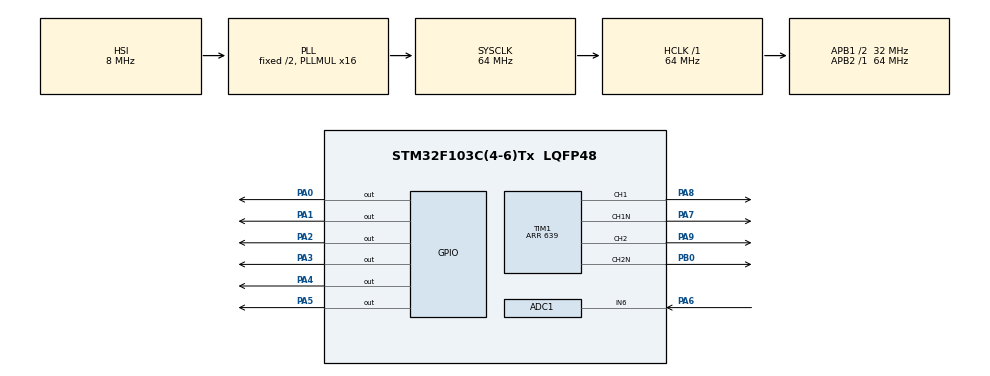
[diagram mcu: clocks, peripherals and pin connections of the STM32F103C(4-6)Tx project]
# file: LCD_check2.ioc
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ADC1.Channel-0\#ChannelRegularConversion=ADC_CHANNEL_6
ADC1.ContinuousConvMode=ENABLE
ADC1.NbrOfConversionFlag=1
ADC1.Rank-0\#ChannelRegularConversion=1
ADC1.SamplingTime-0\#ChannelRegularConversion=ADC_SAMPLETIME_1CYCLE_5
ADC1.master=1
Mcu.Family=STM32F1
Mcu.Name=STM32F103C(4-6)Tx
Mcu.Package=LQFP48
NVIC.PriorityGroup=NVIC_PRIORITYGROUP_4
PA0-WKUP.Signal=GPIO_Output
PA1.Signal=GPIO_Output
PA13.Mode=Serial_Wire
PA13.Signal=SYS_JTMS-SWDIO
PA14.Mode=Serial_Wire
PA14.Signal=SYS_JTCK-SWCLK
PA2.Signal=GPIO_Output
PA3.Signal=GPIO_Output
PA4.Signal=GPIO_Output
PA5.Signal=GPIO_Output
PA6.Signal=ADCx_IN6
PA7.Mode=PWM Generation1 CH1 CH1N
PA7.Signal=TIM1_CH1N
PA8.Signal=S_TIM1_CH1
PA9.Signal=S_TIM1_CH2
PB0.Mode=PWM Generation2 CH2 CH2N
PB0.Signal=TIM1_CH2N
PD0-OSC_IN.Mode=HSE-External-Oscillator
PD0-OSC_IN.Signal=RCC_OSC_IN
PD1-OSC_OUT.Mode=HSE-External-Oscillator
PD1-OSC_OUT.Signal=RCC_OSC_OUT
ProjectManager.HeapSize=0x200
ProjectManager.StackSize=0x400
ProjectManager.TargetToolchain=STM32CubeIDE
RCC.ADCPresc=RCC_ADCPCLK2_DIV8
RCC.AHBFreq_Value=64000000
RCC.APB1CLKDivider=RCC_HCLK_DIV2
RCC.APB1Freq_Value=32000000
RCC.APB1TimFreq_Value=64000000
RCC.APB2Freq_Value=64000000
RCC.APB2TimFreq_Value=64000000
RCC.HCLKFreq_Value=64000000
RCC.PLLMUL=RCC_PLL_MUL16
RCC.SYSCLKFreq_VALUE=64000000
RCC.SYSCLKSource=RCC_SYSCLKSOURCE_PLLCLK
RCC.USBFreq_Value=64000000
SH.ADCx_IN6.0=ADC1_IN6,IN6
SH.S_TIM1_CH1.0=TIM1_CH1,PWM Generation1 CH1 CH1N
SH.S_TIM1_CH2.0=TIM1_CH2,PWM Generation2 CH2 CH2N
TIM1.Channel-PWM\ Generation1\ CH1\ CH1N=TIM_CHANNEL_1
TIM1.Channel-PWM\ Generation2\ CH2\ CH2N=TIM_CHANNEL_2
TIM1.DeadTime=8
TIM1.Period=639
board=custom

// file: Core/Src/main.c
/* USER CODE BEGIN Header */
/**
  ******************************************************************************
  * @file           : main.c
  * @brief          : Main program body
  ******************************************************************************
  * @attention
  *
  * Copyright (c) 2024 STMicroelectronics.
  * All rights reserved.
  *
  * This software is licensed under terms that can be found in the LICENSE file
  * in the root directory of this software component.
  * If no LICENSE file comes with this software, it is provided AS-IS.
  *
  ******************************************************************************
  */
/* USER CODE END Header */
#include "main.h"
#include "lcd.h"

/* USER CODE BEGIN Includes */
#define NS	100

#define SYSTICK_LOAD (SystemCoreClock/1000000U)
#define SYSTICK_DELAY_CALIB (SYSTICK_LOAD >> 1)

#define DELAY_US(us) \
    do { \
         uint32_t start = SysTick->VAL; \
         uint32_t ticks = (us * SYSTICK_LOAD)-SYSTICK_DELAY_CALIB;  \
         while((start - SysTick->VAL) < ticks); \
    } while (0)
/* USER CODE END Includes */

/* USER CODE BEGIN PTD */
uint32_t idx = 0;

uint32_t pot_value;
uint32_t delay_cont = 20;

volatile uint32_t freq = 500;

const uint32_t sine_pwm1[NS] = {
	460, 469, 478, 486, 495, 503, 512, 520, 527, 535, 542, 549, 556, 562, 568, 573, 578, 583, 587, 590,
	593, 596, 598, 599, 600, 600, 600, 599, 598, 596, 593, 590, 587, 583, 578, 573, 568, 562, 556, 549,
	542, 535, 527, 520, 512, 503, 495, 486, 478, 469, 460, 451, 442, 434, 425, 417, 408, 400, 393, 385,
	378, 371, 364, 358, 352, 347, 342, 337, 333, 330, 327, 324, 322, 321, 320, 320, 320, 321, 322, 324,
	327, 330, 333, 337, 342, 347, 352, 358, 364, 371, 378, 385, 393, 400, 408, 417, 425, 434, 442, 451
};

const uint32_t sine_pwm2[NS] = {
	180, 171, 162, 154, 145, 137, 128, 120, 113, 105, 98, 91, 84, 78, 72, 67, 62, 57, 53, 50, 47, 44, 42,
	41, 40, 40, 40, 41, 42, 44, 47, 50, 53, 57, 62, 67, 72, 78, 84, 91, 98, 105, 113, 120, 128, 137, 145,
	154, 162, 171, 180, 189, 198, 206, 215, 223, 232, 240, 247, 255, 262, 269, 276, 282, 288, 293, 298,
	303, 307, 310, 313, 316, 318, 319, 320, 320, 320, 319, 318, 316, 313, 310, 307, 303, 298, 293, 288,
	282, 276, 269, 262, 255, 247, 240, 232, 223, 215, 206, 198, 189
};

uint32_t iters = 0;
/* USER CODE END PTD */

ADC_HandleTypeDef hadc1;

TIM_HandleTypeDef htim1;

void SystemClock_Config(void);
static void MX_GPIO_Init(void);
static void MX_TIM1_Init(void);
static void MX_ADC1_Init(void);

int main(void)
{

	/* MCU Configuration--------------------------------------------------------*/

	/* Reset of all peripherals, Initializes the Flash interface and the Systick. */
	HAL_Init();

	/* Configure the system clock */
	SystemClock_Config();

	/* Initialize all configured peripherals */
	MX_GPIO_Init();
	MX_TIM1_Init();
	MX_ADC1_Init();
	/* USER CODE BEGIN 2 */
	HAL_ADC_Start(&hadc1);
	TIM1->CCR1 = 451;
	HAL_TIM_PWM_Start(&htim1, TIM_CHANNEL_1);
	HAL_TIMEx_PWMN_Start(&htim1, TIM_CHANNEL_1);

	TIM1->CCR2 = 189;
	HAL_TIM_PWM_Start(&htim1, TIM_CHANNEL_2);
	HAL_TIMEx_PWMN_Start(&htim1, TIM_CHANNEL_2);
	//  /* USER CODE BEGIN 2 */
	Lcd_PortType ports[] = {GPIOA, GPIOA, GPIOA, GPIOA};
	Lcd_PinType pins[] = {GPIO_PIN_2, GPIO_PIN_3, GPIO_PIN_4, GPIO_PIN_5};
	Lcd_HandleTypeDef lcd;
	lcd = Lcd_create(ports, pins, GPIOA, GPIO_PIN_1, GPIOA, GPIO_PIN_0, LCD_4_BIT_MODE);
	Lcd_cursor(&lcd, 0,3);
	Lcd_string(&lcd, "Frequency");
	/* USER CODE END 2 */

	/* Infinite loop */
	while (1)
	{

		/* USER CODE BEGIN 3 */
		while(idx < NS)
		{
			TIM1->CCR1 = sine_pwm1[idx];
			TIM1->CCR2 = sine_pwm2[idx];
			DELAY_US(delay_cont);
			idx++;
		}

		idx = 0;
		iters += 1;
		if(iters % 1000 == 0)
		{
			HAL_ADC_PollForConversion(&hadc1, 100);
			pot_value = HAL_ADC_GetValue(&hadc1);
			freq = (int)((pot_value*3000)/4095);
			delay_cont = (int)((10000 - freq)/freq);

			Lcd_clear(&lcd);
			Lcd_cursor(&lcd, 0,3);
			Lcd_string(&lcd, "Frequency");
			Lcd_cursor(&lcd, 1, 7);
			Lcd_int(&lcd, freq);
			iters = 0;
		}
	}
	/* USER CODE END 3 */
}

void SystemClock_Config(void)
{
  RCC_OscInitTypeDef RCC_OscInitStruct = {0};
  RCC_ClkInitTypeDef RCC_ClkInitStruct = {0};
  RCC_PeriphCLKInitTypeDef PeriphClkInit = {0};

  /** Initializes the RCC Oscillators according to the specified parameters
  * in the RCC_OscInitTypeDef structure.
  */
  RCC_OscInitStruct.OscillatorType = RCC_OSCILLATORTYPE_HSI;
  RCC_OscInitStruct.HSIState = RCC_HSI_ON;
  RCC_OscInitStruct.HSICalibrationValue = RCC_HSICALIBRATION_DEFAULT;
  RCC_OscInitStruct.PLL.PLLState = RCC_PLL_ON;
  RCC_OscInitStruct.PLL.PLLSource = RCC_PLLSOURCE_HSI_DIV2;
  RCC_OscInitStruct.PLL.PLLMUL = RCC_PLL_MUL16;
  if (HAL_RCC_OscConfig(&RCC_OscInitStruct) != HAL_OK)
  {
    Error_Handler();
  }

  /** Initializes the CPU, AHB and APB buses clocks
  */
  RCC_ClkInitStruct.ClockType = RCC_CLOCKTYPE_HCLK|RCC_CLOCKTYPE_SYSCLK
                              |RCC_CLOCKTYPE_PCLK1|RCC_CLOCKTYPE_PCLK2;
  RCC_ClkInitStruct.SYSCLKSource = RCC_SYSCLKSOURCE_PLLCLK;
  RCC_ClkInitStruct.AHBCLKDivider = RCC_SYSCLK_DIV1;
  RCC_ClkInitStruct.APB1CLKDivider = RCC_HCLK_DIV2;
  RCC_ClkInitStruct.APB2CLKDivider = RCC_HCLK_DIV1;

  if (HAL_RCC_ClockConfig(&RCC_ClkInitStruct, FLASH_LATENCY_2) != HAL_OK)
  {
    Error_Handler();
  }
  PeriphClkInit.PeriphClockSelection = RCC_PERIPHCLK_ADC;
  PeriphClkInit.AdcClockSelection = RCC_ADCPCLK2_DIV8;
  if (HAL_RCCEx_PeriphCLKConfig(&PeriphClkInit) != HAL_OK)
  {
    Error_Handler();
  }
}

static void MX_ADC1_Init(void)
{

  ADC_ChannelConfTypeDef sConfig = {0};

  /** Common config
  */
  hadc1.Instance = ADC1;
  hadc1.Init.ScanConvMode = ADC_SCAN_DISABLE;
  hadc1.Init.ContinuousConvMode = ENABLE;
  hadc1.Init.DiscontinuousConvMode = DISABLE;
  hadc1.Init.ExternalTrigConv = ADC_SOFTWARE_START;
  hadc1.Init.DataAlign = ADC_DATAALIGN_RIGHT;
  hadc1.Init.NbrOfConversion = 1;
  if (HAL_ADC_Init(&hadc1) != HAL_OK)
  {
    Error_Handler();
  }

  /** Configure Regular Channel
  */
  sConfig.Channel = ADC_CHANNEL_6;
  sConfig.Rank = ADC_REGULAR_RANK_1;
  sConfig.SamplingTime = ADC_SAMPLETIME_1CYCLE_5;
  if (HAL_ADC_ConfigChannel(&hadc1, &sConfig) != HAL_OK)
  {
    Error_Handler();
  }

}

static void MX_TIM1_Init(void)
{

  TIM_MasterConfigTypeDef sMasterConfig = {0};
  TIM_OC_InitTypeDef sConfigOC = {0};
  TIM_BreakDeadTimeConfigTypeDef sBreakDeadTimeConfig = {0};

  htim1.Instance = TIM1;
  htim1.Init.Prescaler = 0;
  htim1.Init.CounterMode = TIM_COUNTERMODE_UP;
  htim1.Init.Period = 639;
  htim1.Init.ClockDivision = TIM_CLOCKDIVISION_DIV1;
  htim1.Init.RepetitionCounter = 0;
  htim1.Init.AutoReloadPreload = TIM_AUTORELOAD_PRELOAD_DISABLE;
  if (HAL_TIM_PWM_Init(&htim1) != HAL_OK)
  {
    Error_Handler();
  }
  sMasterConfig.MasterOutputTrigger = TIM_TRGO_RESET;
  sMasterConfig.MasterSlaveMode = TIM_MASTERSLAVEMODE_DISABLE;
  if (HAL_TIMEx_MasterConfigSynchronization(&htim1, &sMasterConfig) != HAL_OK)
  {
    Error_Handler();
  }
  sConfigOC.OCMode = TIM_OCMODE_PWM1;
  sConfigOC.Pulse = 0;
  sConfigOC.OCPolarity = TIM_OCPOLARITY_HIGH;
  sConfigOC.OCNPolarity = TIM_OCNPOLARITY_HIGH;
  sConfigOC.OCFastMode = TIM_OCFAST_DISABLE;
  sConfigOC.OCIdleState = TIM_OCIDLESTATE_RESET;
  sConfigOC.OCNIdleState = TIM_OCNIDLESTATE_RESET;
  if (HAL_TIM_PWM_ConfigChannel(&htim1, &sConfigOC, TIM_CHANNEL_1) != HAL_OK)
  {
    Error_Handler();
  }
  if (HAL_TIM_PWM_ConfigChannel(&htim1, &sConfigOC, TIM_CHANNEL_2) != HAL_OK)
  {
    Error_Handler();
  }
  sBreakDeadTimeConfig.OffStateRunMode = TIM_OSSR_DISABLE;
  sBreakDeadTimeConfig.OffStateIDLEMode = TIM_OSSI_DISABLE;
  sBreakDeadTimeConfig.LockLevel = TIM_LOCKLEVEL_OFF;
  sBreakDeadTimeConfig.DeadTime = 8;
  sBreakDeadTimeConfig.BreakState = TIM_BREAK_DISABLE;
  sBreakDeadTimeConfig.BreakPolarity = TIM_BREAKPOLARITY_HIGH;
  sBreakDeadTimeConfig.AutomaticOutput = TIM_AUTOMATICOUTPUT_DISABLE;
  if (HAL_TIMEx_ConfigBreakDeadTime(&htim1, &sBreakDeadTimeConfig) != HAL_OK)
  {
    Error_Handler();
  }
  HAL_TIM_MspPostInit(&htim1);

}

static void MX_GPIO_Init(void)
{
  GPIO_InitTypeDef GPIO_InitStruct = {0};

  /* GPIO Ports Clock Enable */
  __HAL_RCC_GPIOD_CLK_ENABLE();
  __HAL_RCC_GPIOA_CLK_ENABLE();
  __HAL_RCC_GPIOB_CLK_ENABLE();

  /*Configure GPIO pin Output Level */
  HAL_GPIO_WritePin(GPIOA, GPIO_PIN_0|GPIO_PIN_1|GPIO_PIN_2|GPIO_PIN_3
                          |GPIO_PIN_4|GPIO_PIN_5, GPIO_PIN_RESET);

  /*Configure GPIO pins : PA0 PA1 PA2 PA3
                           PA4 PA5 */
  GPIO_InitStruct.Pin = GPIO_PIN_0|GPIO_PIN_1|GPIO_PIN_2|GPIO_PIN_3
                          |GPIO_PIN_4|GPIO_PIN_5;
  GPIO_InitStruct.Mode = GPIO_MODE_OUTPUT_PP;
  GPIO_InitStruct.Pull = GPIO_NOPULL;
  GPIO_InitStruct.Speed = GPIO_SPEED_FREQ_LOW;
  HAL_GPIO_Init(GPIOA, &GPIO_InitStruct);

}

void Error_Handler(void)
{
  __disable_irq();
  while (1)
  {
  }
}
